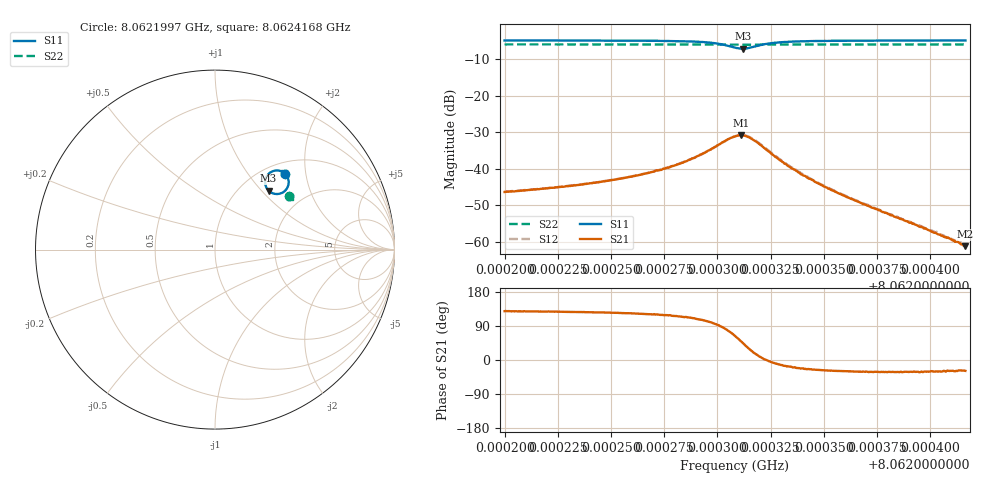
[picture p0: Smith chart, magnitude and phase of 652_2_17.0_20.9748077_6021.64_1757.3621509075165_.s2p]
#  HZ  S  RI  R  50.00
! Rohde & Schwarz Vector Network Analyzer
! Rohde-Schwarz,ZNB20-2Port,1311601062101988,3.16
! Created: UTC 3/20/2024, 11:21:17 PM
! freq[Hz]  re:S11  im:S11  re:S21  im:S21  re:S12  im:S12  re:S22  im:S22
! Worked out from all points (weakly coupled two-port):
!   401 points, 8.0621997 GHz to 8.0624168 GHz, reference 50 ohm
!   highest |S21| = -30.84 dB at 8.062311 GHz (marker M1); lowest = -61.3 dB at 8.0624168 GHz (marker M2)
!   lowest |S11| = -7.0 dB at 8.0623121 GHz (marker M3), VSWR 2.60, Z = 66.9 + j54.8 ohm
!   |S11| at or under -10 dB: nowhere
!   |S22| runs from -6.0 to -5.9 dB; largest |S21 - S12| = 0.0012
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8.06219972e9  0.3918 0.4219  -0.00301 0.00373  -0.0028 0.00394  0.4101 0.3004
8.06223609e9  0.3975 0.4151  -0.00358 0.00488  -0.00333 0.00516  0.4116 0.2984
8.06225617e9  0.4018 0.4083  -0.00414 0.00621  -0.00382 0.00648  0.4123 0.2972
8.06227245e9  0.4066 0.3982  -0.00473 0.00828  -0.00423 0.00865  0.4129 0.2958
8.06228276e9  0.4096 0.3863  -0.00493 0.0108  -0.00433 0.0112  0.4133 0.2949
8.06228927e9  0.4107 0.374  -0.00482 0.0133  -0.00403 0.0136  0.4133 0.2939
8.06230067e9  0.3958 0.3339  -0.000626 0.0214  0.000569 0.0213  0.4126 0.292
8.06230501e9  0.3708 0.315  0.00561 0.0248  0.00656 0.0245  0.4114 0.2913
8.06230827e9  0.3388 0.31  0.0123 0.0249  0.0133 0.0245  0.41 0.2913
8.06231098e9  0.3093 0.3202  0.0185 0.0219  0.0195 0.0213  0.4091 0.2918
8.06231207e9  0.2988 0.3286  0.0205 0.0199  0.0213 0.0193  0.4089 0.2924
8.06231424e9  0.2843 0.3501  0.023 0.0149  0.0239 0.0144  0.4086 0.2933
8.06231695e9  0.2795 0.3789  0.0233 0.00842  0.0243 0.00775  0.4087 0.2945
8.06232401e9  0.3024 0.4252  0.0173 -0.000772  0.0177 -0.00171  0.4105 0.2958
8.06233378e9  0.3343 0.44  0.0102 -0.00315  0.0103 -0.00393  0.4125 0.2957
8.06234463e9  0.3532 0.4405  0.00635 -0.00297  0.00622 -0.00338  0.4136 0.2949
8.06235114e9  0.3601 0.4392  0.00491 -0.00257  0.00486 -0.00287  0.4142 0.2945
8.06235983e9  0.3665 0.4373  0.00369 -0.0021  0.00362 -0.00236  0.4146 0.2939
8.06238099e9  0.3758 0.4333  0.00202 -0.00123  0.00196 -0.00136  0.4158 0.2927
8.06240867e9  0.3825 0.4295  0.001 -0.000535  0.000962 -0.00059  0.4167 0.2909
8.06241464e9  0.3836 0.4288  0.000813 -0.000427  0.000825 -0.000516  0.4171 0.2906
8.06241681e9  0.3839 0.4285  0.000758 -0.000414  0.000776 -0.000483  0.4172 0.2903
